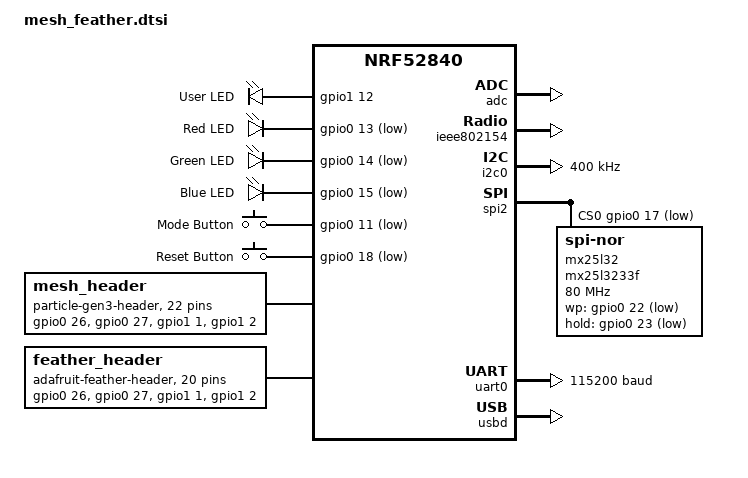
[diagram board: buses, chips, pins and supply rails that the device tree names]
/*
 * Copyright (c) 2018 Endre Karlson
 * Copyright (c) 2018 Peter Bigot Consulting, LLC
 *
 * SPDX-License-Identifier: Apache-2.0
 */

/* Assignments common to all Feather-based Particle mesh boards.
 *
 * NOTE: This file is replicated in particle_{argon,boron,xenon}.
 * Changes should be made in all instances. */

#include <nordic/nrf52840_partition.dtsi>
#include "mesh_feather-pinctrl.dtsi"
#include <zephyr/dt-bindings/input/input-event-codes.h>

/ {
	aliases {
		led0 = &user_led;
		led1 = &status_red;
		led2 = &status_green;
		led3 = &status_blue;
		sw0 = &mode_button;
		sw1 = &reset_button;
	};

	chosen {
		zephyr,console = &uart0;
		zephyr,uart-mcumgr = &uart0;
		zephyr,shell-uart = &uart0;
		zephyr,ieee802154 = &ieee802154;
	};

	leds {
		compatible = "gpio-leds";
		user_led: led_0 {
			gpios = <&gpio1 12 GPIO_ACTIVE_HIGH>;
			label = "User LED";
		};
		status_red: led_1 {
			gpios = <&gpio0 13 GPIO_ACTIVE_LOW>;
			label = "Red LED";
		};
		status_green: led_2 {
			gpios = <&gpio0 14 GPIO_ACTIVE_LOW>;
			label = "Green LED";
		};
		status_blue: led_3 {
			gpios = <&gpio0 15 GPIO_ACTIVE_LOW>;
			label = "Blue LED";
		};
	};

	gpio_keys {
		compatible = "gpio-keys";
		mode_button: button_0 {
			gpios = <&gpio0 11 (GPIO_PULL_UP | GPIO_ACTIVE_LOW)>;
			label = "Mode Button";
			zephyr,code = <INPUT_BTN_MODE>;
		};

		reset_button: button_1 {
			gpios = <&gpio0 18 (GPIO_PULL_UP | GPIO_ACTIVE_LOW)>;
			label = "Reset Button";
			zephyr,code = <INPUT_KEY_0>;
		};
	};

	mesh_header: connector {
		compatible = "particle-gen3-header";
		#gpio-cells = <2>;
		gpio-map-mask = <0xffffffff 0xffffffc0>;
		gpio-map-pass-thru = <0 0x3f>;
		gpio-map = <0 0 &gpio0 26 0>,   /* SDA */
			   <1 0 &gpio0 27 0>,   /* SCL */
			   <2 0 &gpio1 1 0>,    /* PWM3 */
			   <3 0 &gpio1 2 0>,    /* PWM3 */
			   <4 0 &gpio1 8 0>,    /* PWM1 */
			   <5 0 &gpio1 10 0>,   /* PWM1 */
			   <6 0 &gpio1 11 0>,   /* PWM1 */
			   <7 0 &gpio1 12 0>,   /* PWM0 */
			   <8 0 &gpio1 3 0>,    /* PWM1 */
			   <9 0 &gpio0 6 0>,    /* TX */
			   <10 0 &gpio0 8 0>,   /* RX */
			   <11 0 &gpio1 14 0>,  /* MISO */
			   <12 0 &gpio1 13 0>,  /* MOSI */
			   <13 0 &gpio1 15 0>,  /* SCK */
			   <14 0 &gpio0 31 0>,  /* SS */
			   <15 0 &gpio0 30 0>,  /* ADC4 = AIN6 */
			   <16 0 &gpio0 29 0>,  /* ADC3 = AIN5 */
			   <17 0 &gpio0 28 0>,  /* ADC2 = AIN4 */
			   <18 0 &gpio0 4 0>,   /* ADC1 = AIN2 */
			   <19 0 &gpio0 3 0>,   /* ADC0 = AIN1 */
			   <20 0 &gpio0 11 0>,  /* MODEn */
			   <21 0 &gpio0 18 0>;  /* RESETn */
	};

	feather_header: feather_connector {
		compatible = "adafruit-feather-header";
		#gpio-cells = <2>;
		gpio-map-mask = <0xffffffff 0xffffffc0>;
		gpio-map-pass-thru = <0 0x3f>;
		gpio-map = <12 0 &gpio0 26 0>,  /* SDA */
			   <13 0 &gpio0 27 0>,  /* SCL */
			   <14 0 &gpio1 1 0>,   /* PWM3 */
			   <15 0 &gpio1 2 0>,   /* PWM3 */
			   <16 0 &gpio1 8 0>,   /* PWM1 */
			   <17 0 &gpio1 10 0>,  /* PWM1 */
			   <18 0 &gpio1 11 0>,  /* PWM1 */
			   <19 0 &gpio1 12 0>,  /* PWM0 */
			   <20 0 &gpio1 3 0>,   /* PWM1 */
			   /* 11 not connected */
			   <10 0 &gpio0 6 0>,   /* TX */
			   <9 0 &gpio0 8 0>,    /* RX */
			   <8 0 &gpio1 14 0>,   /* MISO */
			   <7 0 &gpio1 13 0>,   /* MOSI */
			   <6 0 &gpio1 15 0>,   /* SCK */
			   <5 0 &gpio0 31 0>,   /* SS */
			   <4 0 &gpio0 30 0>,   /* ADC4 = AIN6 */
			   <3 0 &gpio0 29 0>,   /* ADC3 = AIN5 */
			   <2 0 &gpio0 28 0>,   /* ADC2 = AIN4 */
			   <1 0 &gpio0 4 0>,    /* ADC1 = AIN2 */
			   <0 0 &gpio0 3 0>;    /* ADC0 = AIN1 */
	};
};

feather_adc: &adc { /* feather ADC */
	status = "okay";
};

&ieee802154 {
	status = "okay";
};

&gpio0 {
	status = "okay";
};

&gpio1 {
	status = "okay";
};

&gpiote {
	status = "okay";
};

arduino_i2c: &i2c0 { /* feather I2C */
	compatible = "nordic,nrf-twi";
	status = "okay";
	clock-frequency = <I2C_BITRATE_FAST>;
	pinctrl-0 = <&i2c0_default>;
	pinctrl-1 = <&i2c0_sleep>;
	pinctrl-names = "default", "sleep";
};

feather_i2c: &i2c0 { };

/* TWI1 used on Boron; also see mesh_feather_spi_spi1.dtsi */

&spi2 { /* dedicated MX25L */
	compatible = "nordic,nrf-spi";
	status = "okay";
	cs-gpios = <&gpio0 17 GPIO_ACTIVE_LOW>;
	pinctrl-0 = <&spi2_default>;
	pinctrl-1 = <&spi2_sleep>;
	pinctrl-names = "default", "sleep";
	mx25l32: mx25l3233f@0 {
		compatible = "jedec,spi-nor";
		reg = <0>;
		spi-max-frequency = <80000000>;
		wp-gpios = <&gpio0 22 GPIO_ACTIVE_LOW>;
		hold-gpios = <&gpio0 23 GPIO_ACTIVE_LOW>;
		size = <0x2000000>;
		has-dpd;
		t-enter-dpd = <10000>;
		t-exit-dpd = <100000>;
		jedec-id = [c2 20 16];
		sfdp-bfp = [
			e5 20 f1 ff  ff ff ff 01  44 eb 08 6b  08 3b 04 bb
			ee ff ff ff  ff ff 00 ff  ff ff 00 ff  0c 20 0f 52
			10 d8 00 ff
		];
	};
};

/* see mesh_feather_spi1_spi3.dtsi */

feather_serial: &uart0 { /* feather UART1 */
	compatible = "nordic,nrf-uarte";
	current-speed = <115200>;
	status = "okay";
	/* optional mesh_feather_uart1_rtscts.dtsi */
	pinctrl-0 = <&uart0_default>;
	pinctrl-1 = <&uart0_sleep>;
	pinctrl-names = "default", "sleep";
};

zephyr_udc0: &usbd {
	compatible = "nordic,nrf-usbd";
	status = "okay";
};
